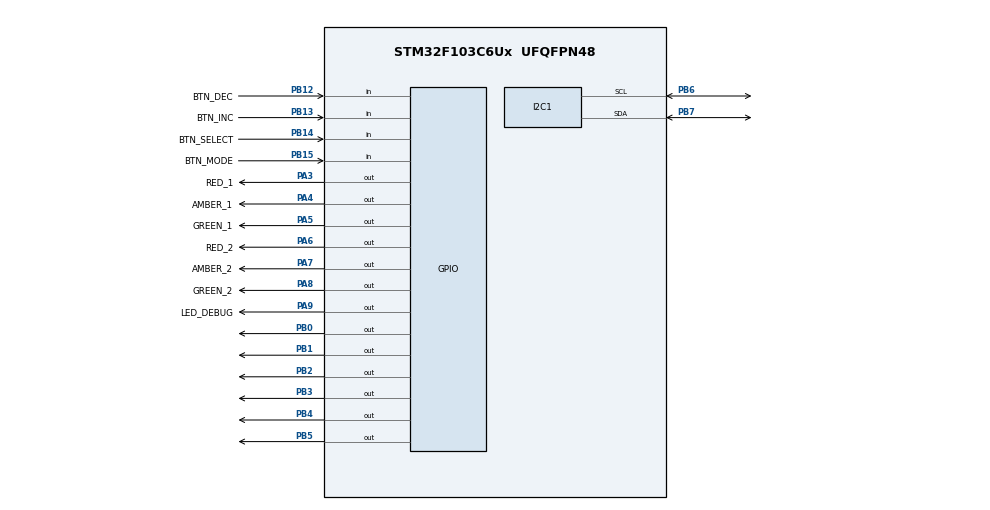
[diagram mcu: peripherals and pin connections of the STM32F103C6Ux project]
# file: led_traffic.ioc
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Mcu.Family=STM32F1
Mcu.Name=STM32F103C6Ux
Mcu.Package=UFQFPN48
NVIC.PriorityGroup=NVIC_PRIORITYGROUP_4
NVIC.TIM2_IRQn=true\:0\:0\:false\:false\:true\:true\:true
PA3.GPIO_Label=RED_1
PA3.Signal=GPIO_Output
PA4.GPIO_Label=AMBER_1
PA4.Signal=GPIO_Output
PA5.GPIO_Label=GREEN_1
PA5.Signal=GPIO_Output
PA6.GPIO_Label=RED_2
PA6.Signal=GPIO_Output
PA7.GPIO_Label=AMBER_2
PA7.Signal=GPIO_Output
PA8.GPIO_Label=GREEN_2
PA8.Signal=GPIO_Output
PA9.GPIO_Label=LED_DEBUG
PA9.Signal=GPIO_Output
PB0.Signal=GPIO_Output
PB1.Signal=GPIO_Output
PB12.GPIO_Label=BTN_DEC
PB12.GPIO_PuPd=GPIO_PULLUP
PB12.Signal=GPIO_Input
PB13.GPIO_Label=BTN_INC
PB13.GPIO_PuPd=GPIO_PULLUP
PB13.Signal=GPIO_Input
PB14.GPIO_Label=BTN_SELECT
PB14.GPIO_PuPd=GPIO_PULLUP
PB14.Signal=GPIO_Input
PB15.GPIO_Label=BTN_MODE
PB15.GPIO_PuPd=GPIO_PULLUP
PB15.Signal=GPIO_Input
PB2.Signal=GPIO_Output
PB3.Signal=GPIO_Output
PB4.Signal=GPIO_Output
PB5.Signal=GPIO_Output
PB6.Mode=I2C
PB6.Signal=I2C1_SCL
PB7.Mode=I2C
PB7.Signal=I2C1_SDA
ProjectManager.HeapSize=0x200
ProjectManager.StackSize=0x400
ProjectManager.TargetToolchain=STM32CubeIDE
RCC.APB1Freq_Value=8000000
RCC.APB2Freq_Value=8000000
TIM2.Period=9
TIM2.Prescaler=7999
VP_SYS_VS_ND.Mode=No_Debug
VP_TIM2_VS_ClockSourceINT.Mode=Internal
board=custom

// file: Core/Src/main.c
/* USER CODE BEGIN Header */
/**
  ******************************************************************************
  * @file           : main.c
  * @brief          : Main program body
  ******************************************************************************
  * @attention
  *
  * <h2><center>&copy; Copyright (c) 2026 STMicroelectronics.
  * All rights reserved.</center></h2>
  *
  * This software component is licensed by ST under BSD 3-Clause license,
  * the "License"; You may not use this file except in compliance with the
  * License. You may obtain a copy of the License at:
  *                        opensource.org/licenses/BSD-3-Clause
  *
  ******************************************************************************
  */
/* USER CODE END Header */
#include "main.h"
#include "stdio.h"

/* USER CODE BEGIN Includes */
#include "scheduler.h"
#include "fsm_automatic.h"
#include "fsm_tuning.h"          // <-- MOI THEM: mode, MODE_NORMAL, fsm_for_input_processing
#include "lcd.h"
#include "traffic_light.h"
#include "button.h"
#include "softwaretimer.h"

#include "global.h"

#include "dht20.h"
/* USER CODE END Includes */

I2C_HandleTypeDef hi2c1;

TIM_HandleTypeDef htim2;

void SystemClock_Config(void);
static void MX_GPIO_Init(void);
static void MX_TIM2_Init(void);
static void MX_I2C1_Init(void);

/* USER CODE BEGIN 0 */
void task_auto(void) {
    if (mode == MODE_NORMAL) fsm_automatic_run();
}
void task_countdown_display(void) {
    if (mode == MODE_NORMAL) {
        display_countdown_lcd();
    }
}

void DHT20_Display_LCD(void) {
    char buf[17];
    lcd_goto(1, 0);
    snprintf(buf, sizeof(buf), "T:%d.%dC H:%d.%d%% ",
             dht20_temp_x10 / 10, dht20_temp_x10 % 10,
             dht20_humi_x10 / 10, dht20_humi_x10 % 10);
    lcd_str(buf);
}

/* USER CODE END 0 */

int main(void)
{

  /* MCU Configuration--------------------------------------------------------*/

  /* Reset of all peripherals, Initializes the Flash interface and the Systick. */
  HAL_Init();

  /* Configure the system clock */
  SystemClock_Config();

  /* Initialize all configured peripherals */
  MX_GPIO_Init();
  MX_TIM2_Init();
 MX_I2C1_Init();
 /* USER CODE BEGIN 2 */
 lcd_init();
 DHT20_Init();

 SCH_Init();
 HAL_TIM_Base_Start_IT(&htim2);

 SCH_Add_Task(button_reading, 0, 1);
 SCH_Add_Task(fsm_for_input_processing, 0, 1);
 SCH_Add_Task(task_auto, 0, 100);
 SCH_Add_Task(task_countdown_display, 1, 100);
 SCH_Add_Task(DHT20_Trigger_Task, 2, 200);
 SCH_Add_Task(DHT20_Display_LCD, 15, 200);
 /* USER CODE END 2 */
  /* Infinite loop */
  /* USER CODE BEGIN WHILE */
  while (1)
  {
	  SCH_Dispatch_Tasks();
    /* USER CODE END WHILE */

  }
}

void SystemClock_Config(void)
{
  RCC_OscInitTypeDef RCC_OscInitStruct = {0};
  RCC_ClkInitTypeDef RCC_ClkInitStruct = {0};

  /** Initializes the RCC Oscillators according to the specified parameters
  * in the RCC_OscInitTypeDef structure.
  */
  RCC_OscInitStruct.OscillatorType = RCC_OSCILLATORTYPE_HSI;
  RCC_OscInitStruct.HSIState = RCC_HSI_ON;
  RCC_OscInitStruct.HSICalibrationValue = RCC_HSICALIBRATION_DEFAULT;
  RCC_OscInitStruct.PLL.PLLState = RCC_PLL_NONE;
  if (HAL_RCC_OscConfig(&RCC_OscInitStruct) != HAL_OK)
  {
    Error_Handler();
  }
  /** Initializes the CPU, AHB and APB buses clocks
  */
  RCC_ClkInitStruct.ClockType = RCC_CLOCKTYPE_HCLK|RCC_CLOCKTYPE_SYSCLK
                              |RCC_CLOCKTYPE_PCLK1|RCC_CLOCKTYPE_PCLK2;
  RCC_ClkInitStruct.SYSCLKSource = RCC_SYSCLKSOURCE_HSI;
  RCC_ClkInitStruct.AHBCLKDivider = RCC_SYSCLK_DIV1;
  RCC_ClkInitStruct.APB1CLKDivider = RCC_HCLK_DIV1;
  RCC_ClkInitStruct.APB2CLKDivider = RCC_HCLK_DIV1;

  if (HAL_RCC_ClockConfig(&RCC_ClkInitStruct, FLASH_LATENCY_0) != HAL_OK)
  {
    Error_Handler();
  }
}

static void MX_I2C1_Init(void)
{

  hi2c1.Instance = I2C1;
  hi2c1.Init.ClockSpeed = 100000;
  hi2c1.Init.DutyCycle = I2C_DUTYCYCLE_2;
  hi2c1.Init.OwnAddress1 = 0;
  hi2c1.Init.AddressingMode = I2C_ADDRESSINGMODE_7BIT;
  hi2c1.Init.DualAddressMode = I2C_DUALADDRESS_DISABLE;
  hi2c1.Init.OwnAddress2 = 0;
  hi2c1.Init.GeneralCallMode = I2C_GENERALCALL_DISABLE;
  hi2c1.Init.NoStretchMode = I2C_NOSTRETCH_DISABLE;
  if (HAL_I2C_Init(&hi2c1) != HAL_OK)
  {
    Error_Handler();
  }

}

static void MX_TIM2_Init(void)
{

  TIM_ClockConfigTypeDef sClockSourceConfig = {0};
  TIM_MasterConfigTypeDef sMasterConfig = {0};

  htim2.Instance = TIM2;
  htim2.Init.Prescaler = 7999;
  htim2.Init.CounterMode = TIM_COUNTERMODE_UP;
  htim2.Init.Period = 9;
  htim2.Init.ClockDivision = TIM_CLOCKDIVISION_DIV1;
  htim2.Init.AutoReloadPreload = TIM_AUTORELOAD_PRELOAD_DISABLE;
  if (HAL_TIM_Base_Init(&htim2) != HAL_OK)
  {
    Error_Handler();
  }
  sClockSourceConfig.ClockSource = TIM_CLOCKSOURCE_INTERNAL;
  if (HAL_TIM_ConfigClockSource(&htim2, &sClockSourceConfig) != HAL_OK)
  {
    Error_Handler();
  }
  sMasterConfig.MasterOutputTrigger = TIM_TRGO_RESET;
  sMasterConfig.MasterSlaveMode = TIM_MASTERSLAVEMODE_DISABLE;
  if (HAL_TIMEx_MasterConfigSynchronization(&htim2, &sMasterConfig) != HAL_OK)
  {
    Error_Handler();
  }

}

static void MX_GPIO_Init(void)
{
  GPIO_InitTypeDef GPIO_InitStruct = {0};

  /* GPIO Ports Clock Enable */
  __HAL_RCC_GPIOA_CLK_ENABLE();
  __HAL_RCC_GPIOB_CLK_ENABLE();

  /*Configure GPIO pin Output Level */
  HAL_GPIO_WritePin(GPIOA, RED_1_Pin|AMBER_1_Pin|GREEN_1_Pin|RED_2_Pin
                          |AMBER_2_Pin|GREEN_2_Pin|LED_DEBUG_Pin, GPIO_PIN_RESET);

  /*Configure GPIO pin Output Level */
  HAL_GPIO_WritePin(GPIOB, GPIO_PIN_0|GPIO_PIN_1|GPIO_PIN_2|GPIO_PIN_3
                          |GPIO_PIN_4|GPIO_PIN_5, GPIO_PIN_RESET);

  /*Configure GPIO pins : RED_1_Pin AMBER_1_Pin GREEN_1_Pin RED_2_Pin
                           AMBER_2_Pin GREEN_2_Pin LED_DEBUG_Pin */
  GPIO_InitStruct.Pin = RED_1_Pin|AMBER_1_Pin|GREEN_1_Pin|RED_2_Pin
                          |AMBER_2_Pin|GREEN_2_Pin|LED_DEBUG_Pin;
  GPIO_InitStruct.Mode = GPIO_MODE_OUTPUT_PP;
  GPIO_InitStruct.Pull = GPIO_NOPULL;
  GPIO_InitStruct.Speed = GPIO_SPEED_FREQ_LOW;
  HAL_GPIO_Init(GPIOA, &GPIO_InitStruct);

  /*Configure GPIO pins : PB0 PB1 PB2 PB3
                           PB4 PB5 */
  GPIO_InitStruct.Pin = GPIO_PIN_0|GPIO_PIN_1|GPIO_PIN_2|GPIO_PIN_3
                          |GPIO_PIN_4|GPIO_PIN_5;
  GPIO_InitStruct.Mode = GPIO_MODE_OUTPUT_PP;
  GPIO_InitStruct.Pull = GPIO_NOPULL;
  GPIO_InitStruct.Speed = GPIO_SPEED_FREQ_LOW;
  HAL_GPIO_Init(GPIOB, &GPIO_InitStruct);

  /*Configure GPIO pins : BTN_DEC_Pin BTN_INC_Pin BTN_SELECT_Pin BTN_MODE_Pin */
  GPIO_InitStruct.Pin = BTN_DEC_Pin|BTN_INC_Pin|BTN_SELECT_Pin|BTN_MODE_Pin;
  GPIO_InitStruct.Mode = GPIO_MODE_INPUT;
  GPIO_InitStruct.Pull = GPIO_PULLUP;
  HAL_GPIO_Init(GPIOB, &GPIO_InitStruct);

}

/* USER CODE BEGIN 4 */
void HAL_TIM_PeriodElapsedCallback(TIM_HandleTypeDef *htim) {
    if (htim->Instance == TIM2) {
        SCH_Update();
        timerRun();
    }
}
/* USER CODE END 4 */

void Error_Handler(void)
{
  __disable_irq();
  while (1)
  {
  }
}

/************************ (C) COPYRIGHT STMicroelectronics *****END OF FILE****/
